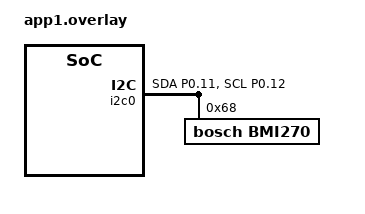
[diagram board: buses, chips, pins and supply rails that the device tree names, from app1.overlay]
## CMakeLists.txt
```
#
# Copyright (c) 2018 Nordic Semiconductor
#
# SPDX-License-Identifier: LicenseRef-Nordic-5-Clause
#
cmake_minimum_required(VERSION 3.20.0)

find_package(Zephyr REQUIRED HINTS $ENV{ZEPHYR_BASE})
project(NONE)

# NORDIC SDK APP START
target_sources(app PRIVATE
  src/main.c
  src/imu_service.c
  src/imu_driver.c
)

# NORDIC SDK APP END
zephyr_library_include_directories(.)
```

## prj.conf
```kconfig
#
# Copyright (c) 2018 Nordic Semiconductor
#
# SPDX-License-Identifier: LicenseRef-Nordic-5-Clause
#

# Logger module
CONFIG_LOG=y

# Button and LED library
CONFIG_DK_LIBRARY=y

# Bluetooth LE
CONFIG_BT=y
CONFIG_BT_PERIPHERAL=y
CONFIG_BT_DEVICE_NAME="IMU_wearable"

# Increase stack size for the main thread and System Workqueue
CONFIG_SYSTEM_WORKQUEUE_STACK_SIZE=1024
CONFIG_MAIN_STACK_SIZE=1024

CONFIG_STDOUT_CONSOLE=y
CONFIG_I2C=y
CONFIG_SENSOR=y

# increaes BLE packet size
# CONFIG_BT_BUF_ACL_RX_SIZE=251
# CONFIG_BT_BUF_ACL_TX_SIZE=251
# CONFIG_BT_L2CAP_TX_MTU=247
# CONFIG_BT_L2CAP_TX_BUF_COUNT=10
# CONFIG_BT_CTLR_DATA_LENGTH_MAX=251

CONFIG_BT_BUF_ACL_RX_SIZE=64
CONFIG_BT_BUF_ACL_TX_SIZE=64
CONFIG_BT_L2CAP_TX_MTU=60
CONFIG_BT_L2CAP_TX_BUF_COUNT=3
CONFIG_BT_CTLR_DATA_LENGTH_MAX=64

CONFIG_BT_GATT_CLIENT=y
```

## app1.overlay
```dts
&i2c0 {
  compatible = "nordic,nrf-twi";
  status = "okay";
  pinctrl-0 = <&i2c1_default_custom>;
  pinctrl-1 = <&i2c1_sleep_custom>;
  pinctrl-names = "default", "sleep";

  bmi270@68 {
    compatible = "bosch,bmi270";
    reg = <0x68>;
  };
};

&pinctrl {
  i2c1_default_custom: i2c1_default_custom {
    group1 {
      psels = <NRF_PSEL(TWIM_SDA, 0, 11)>,
        <NRF_PSEL(TWIM_SCL, 0, 12)>;
    };
  };
  i2c1_sleep_custom: i2c1_sleep_custom {
    group1 {
      psels = <NRF_PSEL(TWIM_SDA, 0, 11)>,
        <NRF_PSEL(TWIM_SCL, 0, 12)>;
      low-power-enable;
    };
  };
};
```

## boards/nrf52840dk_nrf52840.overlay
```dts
/*
 * Copyright (c) 2021 Bosch Sensortec GmbH
 *
 * SPDX-License-Identifier: Apache-2.0
 */

&arduino_i2c {
	status = "okay";

	bmi270@68 {
		compatible = "bosch,bmi270";
		reg = <0x68>;
	};
};
```

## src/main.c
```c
#include <zephyr/kernel.h>
#include <zephyr/logging/log.h>
#include <zephyr/bluetooth/bluetooth.h>
#include <zephyr/bluetooth/gap.h>
#include <zephyr/bluetooth/uuid.h>
#include <zephyr/bluetooth/conn.h>
// #include <dk_buttons_and_leds.h>

#include "main.h"
#include "imu_service.h"
#include "imu_driver.h"
LOG_MODULE_REGISTER(ble_imu_wearable, LOG_LEVEL_INF);

#define LED0_NODE DT_ALIAS(led0)

static uint32_t app_sensor_value = 100;

static bool app_button_state;

static struct sensor_value acc[3], gyr[3];

static void on_connected(struct bt_conn *conn, uint8_t err) {
	if (err) {
		printk("Connection failed (err %u)\n", err);
		return;
	}

  max_mtu_on_conn(conn);

	printk("Connected\n");

	// dk_set_led_on(CON_STATUS_LED);
}

static void on_disconnected(struct bt_conn *conn, uint8_t reason) {
	printk("Disconnected (reason %u)\n", reason);

	// dk_set_led_off(CON_STATUS_LED);
}

struct bt_conn_cb connection_callbacks = {
	.connected = on_connected,
	.disconnected = on_disconnected,
};

void send_data_thread(void)
{
	while (1) {
		/* Simulate data */
		/* Send notification, the function sends notifications only if a client is subscribed */
    app_sensor_value = acc[0].val1;
		if(imu_send_notify(acc, gyr)) {
      LOG_ERR("Failed to send data\n");
    }
    LOG_INF("sending data... %d \n", app_sensor_value);
    LOG_INF("AX: %d.%06d; AY: %d.%06d; AZ: %d.%06d; "
        "GX: %d.%06d; GY: %d.%06d; GZ: %d.%06d;\n",
        acc[0].val1, acc[0].val2,
        acc[1].val1, acc[1].val2,
        acc[2].val1, acc[2].val2,
        gyr[0].val1, gyr[0].val2,
        gyr[1].val1, gyr[1].val2,
        gyr[2].val1, gyr[2].val2);
		k_sleep(K_MSEC(50));
	}
}

void collect_imu_data_thread(void)
{
  while (1) {
    get_imu_data(acc, gyr);
    k_sleep(K_MSEC(100));
  }
}

static void app_led_cb(bool led_state)
{
	// dk_set_led(USER_LED, led_state);
}

static bool app_button_cb(void)
{
	return app_button_state;
}

static struct my_lbs_cb app_callbacks = {
	.led_cb = app_led_cb,
	.button_cb = app_button_cb,
};


int main(void)
{
  int blink_status = 0;
	int err;

	LOG_INF("Starting Lesson 4 - Exercise 2 \n");

	// err = dk_leds_init();
	// if (err) {
	// 	LOG_ERR("LEDs init failed (err %d)\n", err);
	// 	return -1;
	// }

  if (bmi_init()) {
    LOG_ERR("Failed to initialize IMU sensor\n");
  } else{
    LOG_INF("IMU sensor initialized\n");
  }

	err = bt_enable(NULL);
	if (err) {
		LOG_ERR("Bluetooth init failed (err %d)\n", err);
		return -1;
	}
	bt_conn_cb_register(&connection_callbacks);

  if (imu_service_init(&app_callbacks)) {
    LOG_ERR("Failed to initialize IMU service\n");
  }

  if (bt_le_adv_start(adv_param, ad, ARRAY_SIZE(ad), sd, ARRAY_SIZE(sd))) {
    LOG_ERR("Advertising failed to start\n");
  }

  for (;;) {
		// dk_set_led(RUN_STATUS_LED, (++blink_status) % 2);
		k_sleep(K_MSEC(RUN_LED_BLINK_INTERVAL));
	}

}
//define a thread
K_THREAD_DEFINE(send_data_thread_id, STACKSIZE, send_data_thread, NULL, NULL, NULL, PRIORITY, 0, 0);

K_THREAD_DEFINE(collect_imu_data_thread_id, STACKSIZE, collect_imu_data_thread, NULL, NULL, NULL, PRIORITY, 0, 0);
```

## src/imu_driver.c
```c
/*
 * Copyright (c) 2021 Bosch Sensortec GmbH
 *
 * SPDX-License-Identifier: Apache-2.0
 */

 #include <zephyr/kernel.h>
 #include <zephyr/device.h>
 #include <zephyr/logging/log.h>
 #include <zephyr/drivers/sensor.h>
 #include <stdio.h>
 LOG_MODULE_DECLARE(ble_imu_wearable);
 static const struct device *const dev = DEVICE_DT_GET_ONE(bosch_bmi270);


int get_imu_data(struct sensor_value *acc, struct sensor_value *gyr) {
    /* 10ms period, 100Hz Sampling frequency */
    // k_sleep(K_MSEC(10));

    if(sensor_sample_fetch(dev)) {
        LOG_ERR("Failed to fetch sample\n");
    } else {
        LOG_INF("Sample fetched\n");
    }

    if(sensor_channel_get(dev, SENSOR_CHAN_ACCEL_XYZ, acc)) {
        LOG_ERR("Failed to fetch accel data\n");
    }
    
    sensor_channel_get(dev, SENSOR_CHAN_GYRO_XYZ, gyr);

    LOG_INF("AX: %d.%06d; AY: %d.%06d; AZ: %d.%06d; "
           "GX: %d.%06d; GY: %d.%06d; GZ: %d.%06d;\n",
           acc[0].val1, acc[0].val2,
           acc[1].val1, acc[1].val2,
           acc[2].val1, acc[2].val2,
           gyr[0].val1, gyr[0].val2,
           gyr[1].val1, gyr[1].val2,
           gyr[2].val1, gyr[2].val2);
    return 0;
}

 int bmi_init(void)
 {

   struct sensor_value acc[3], gyr[3];
   struct sensor_value full_scale, sampling_freq, oversampling;
 
   if (!device_is_ready(dev)) {
     LOG_INF("Device %s is not ready\n", dev->name);
     return 0;
   }
 
   printf("Device %p name is %s\n", dev, dev->name);
 
   /* Setting scale in G, due to loss of precision if the SI unit m/s^2
    * is used
    */
   full_scale.val1 = 2;            /* G */
   full_scale.val2 = 0;
   sampling_freq.val1 = 100;       /* Hz. Performance mode */
   sampling_freq.val2 = 0;
   oversampling.val1 = 1;          /* Normal mode */
   oversampling.val2 = 0;
 
   sensor_attr_set(dev, SENSOR_CHAN_ACCEL_XYZ, SENSOR_ATTR_FULL_SCALE,
       &full_scale);
   sensor_attr_set(dev, SENSOR_CHAN_ACCEL_XYZ, SENSOR_ATTR_OVERSAMPLING,
       &oversampling);
   /* Set sampling frequency last as this also sets the appropriate
    * power mode. If already sampling, change to 0.0Hz before changing
    * other attributes
    */
   sensor_attr_set(dev, SENSOR_CHAN_ACCEL_XYZ,
       SENSOR_ATTR_SAMPLING_FREQUENCY,
       &sampling_freq);
 
 
   /* Setting scale in degrees/s to match the sensor scale */
   full_scale.val1 = 500;          /* dps */
   full_scale.val2 = 0;
   sampling_freq.val1 = 100;       /* Hz. Performance mode */
   sampling_freq.val2 = 0;
   oversampling.val1 = 1;          /* Normal mode */
   oversampling.val2 = 0;
 
   sensor_attr_set(dev, SENSOR_CHAN_GYRO_XYZ, SENSOR_ATTR_FULL_SCALE,
       &full_scale);
   sensor_attr_set(dev, SENSOR_CHAN_GYRO_XYZ, SENSOR_ATTR_OVERSAMPLING,
       &oversampling);
   /* Set sampling frequency last as this also sets the appropriate
    * power mode. If already sampling, change sampling frequency to
    * 0.0Hz before changing other attributes
    */
   sensor_attr_set(dev, SENSOR_CHAN_GYRO_XYZ,
       SENSOR_ATTR_SAMPLING_FREQUENCY,
       &sampling_freq);

   return 0;
 }
```

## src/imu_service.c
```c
#include <zephyr/types.h>
#include <stddef.h>
#include <string.h>
#include <errno.h>
#include <zephyr/sys/printk.h>
#include <zephyr/sys/byteorder.h>
#include <zephyr/kernel.h>
#include <zephyr/logging/log.h>
#include <zephyr/bluetooth/bluetooth.h>
#include <zephyr/bluetooth/hci.h>
#include <zephyr/bluetooth/conn.h>
#include <zephyr/bluetooth/uuid.h>
#include <zephyr/bluetooth/gatt.h>

#include "imu_service.h"

LOG_MODULE_DECLARE(ble_imu_wearable);

static struct bt_gatt_indicate_params ind_params;

static bool notify_mysensor_enabled;
static bool indicate_enabled;
static bool button_state;
static struct my_lbs_cb lbs_cb;

static void exchange_func(struct bt_conn *conn, uint8_t err,
  struct bt_gatt_exchange_params *params)
{
  if (!err) {
      /* According to 3.4.7.1 Handle Value Notification off the ATT protocol.
       * Maximum supported notification is ATT_MTU - 3 */
      uint32_t bt_max_send_len = bt_gatt_get_mtu(conn) - 3;
      LOG_INF("max send len is %d", bt_max_send_len);
  }
}

// static struct bt_gatt_exchange_params {
//   struct bt_att_req *req;
//   void (*func)(struct bt_conn *conn, uint8_t err, struct bt_gatt_exchange_params *params);
// };

static struct bt_gatt_exchange_params exchange_params = {
  .func = exchange_func,
};
static int rc = 0;

void max_mtu_on_conn(struct bt_conn *current_conn) {
  /* maximize ATT MTU at peer side (CONFIG_BT_L2CAP_TX_MTU)*/
  exchange_params.func = exchange_func;
  LOG_INF("sending ATT MTU to peer..");
  rc = bt_gatt_exchange_mtu(current_conn, &exchange_params);
  if (rc) {
      LOG_ERR("failed to negotiate maximum mtu with peer [%d]", rc);
  }
}

static void mylbsbc_ccc_cfg_changed(const struct bt_gatt_attr *attr, uint16_t value)
{
	indicate_enabled = (value == BT_GATT_CCC_INDICATE);
}

/* STEP 13 - Define the configuration change callback function for the MYSENSOR characteristic */
static void mylbsbc_ccc_mysensor_cfg_changed(const struct bt_gatt_attr *attr, uint16_t value)
{
	notify_mysensor_enabled = (value == BT_GATT_CCC_NOTIFY);
}

static ssize_t write_led(struct bt_conn *conn, const struct bt_gatt_attr *attr, const void *buf,
  uint16_t len, uint16_t offset, uint8_t flags)
{
LOG_DBG("Attribute write, handle: %u, conn: %p", attr->handle, (void *)conn);

if (len != 1U) {
LOG_DBG("Write led: Incorrect data length");
return BT_GATT_ERR(BT_ATT_ERR_INVALID_ATTRIBUTE_LEN);
}

if (offset != 0) {
LOG_DBG("Write led: Incorrect data offset");
return BT_GATT_ERR(BT_ATT_ERR_INVALID_OFFSET);
}

if (lbs_cb.led_cb) {
// Read the received value
uint8_t val = *((uint8_t *)buf);

if (val == 0x00 || val == 0x01) {
 // Call the application callback function to update the LED state
 lbs_cb.led_cb(val ? true : false);
} else {
 LOG_DBG("Write led: Incorrect value");
 return BT_GATT_ERR(BT_ATT_ERR_VALUE_NOT_ALLOWED);
}
}

return len;
}

static ssize_t read_button(struct bt_conn *conn, const struct bt_gatt_attr *attr, void *buf,
    uint16_t len, uint16_t offset)
{
// get a pointer to button_state which is passed in the BT_GATT_CHARACTERISTIC() and stored in attr->user_data
const char *value = attr->user_data;

LOG_DBG("Attribute read, handle: %u, conn: %p", attr->handle, (void *)conn);

if (lbs_cb.button_cb) {
// Call the application callback function to update the get the current value of the button
button_state = lbs_cb.button_cb();
return bt_gatt_attr_read(conn, attr, buf, len, offset, value, sizeof(*value));
}

return 0;
}

BT_GATT_SERVICE_DEFINE(
	imu_svc, BT_GATT_PRIMARY_SERVICE(BT_UUID_IMU_SERVICE),

  //old code
  BT_GATT_CHARACTERISTIC(BT_UUID_LBS_BUTTON, BT_GATT_CHRC_READ | BT_GATT_CHRC_INDICATE,
    BT_GATT_PERM_READ, read_button, NULL, &button_state),
/* STEP 2 - Create and add the Client Characteristic Configuration Descriptor */
BT_GATT_CCC(mylbsbc_ccc_cfg_changed, BT_GATT_PERM_READ | BT_GATT_PERM_WRITE),

BT_GATT_CHARACTERISTIC(BT_UUID_LBS_LED, BT_GATT_CHRC_WRITE, BT_GATT_PERM_WRITE, NULL,
    write_led, NULL),


	/* STEP 12 - Create and add the MYSENSOR characteristic and its CCCD  */
	BT_GATT_CHARACTERISTIC(BT_UUID_IMU, BT_GATT_CHRC_NOTIFY, BT_GATT_PERM_NONE, NULL,
			       NULL, NULL),
	BT_GATT_CCC(mylbsbc_ccc_mysensor_cfg_changed, BT_GATT_PERM_READ | BT_GATT_PERM_WRITE),

);


int imu_service_init(struct my_lbs_cb *callbacks) {
  if (callbacks) {
		lbs_cb.led_cb = callbacks->led_cb;
		lbs_cb.button_cb = callbacks->button_cb;
	}
  return 0;

}

static uint32_t ascii_sensor_value = 0;
static char hello_world[] = "Hello, World!";

static struct wearable_packet packet;

//send imu data to the client
int imu_send_notify(struct sensor_value *acc, struct sensor_value *gyr) 
{
	if (!notify_mysensor_enabled) {
    LOG_INF("notify boolean is false...  \n");
		return -EACCES;
	}

  packet.data.acc[0].integer = acc[0].val1;
  packet.data.acc[0].fraction = acc[0].val2;
  packet.data.acc[1].integer = acc[1].val1;
  packet.data.acc[1].fraction = acc[1].val2;
  packet.data.acc[2].integer = acc[2].val1;
  packet.data.acc[2].fraction = acc[2].val2;
  packet.data.gyr[0].integer = gyr[0].val1;
  packet.data.gyr[0].fraction = gyr[0].val2;
  packet.data.gyr[1].integer = gyr[1].val1;
  packet.data.gyr[1].fraction = gyr[1].val2;
  packet.data.gyr[2].integer = gyr[2].val1;
  packet.data.gyr[2].fraction = gyr[2].val2;

  packet.foot_voltage = 123;
  packet.pos = 3;
  LOG_INF("sent ble packet  \n");

  return bt_gatt_notify(NULL, &imu_svc.attrs[7], &packet, sizeof(packet));

  //x61 to x7a
  //loop sensor value from x61 to x7a
  
  // ascii_sensor_value = (ascii_sensor_value + 1) % 26;

	// return bt_gatt_notify(NULL, &imu_svc.attrs[7], &hello_world, sizeof(hello_world));
}
```

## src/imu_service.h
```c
#ifndef BT_IMU_H_
#define BT_IMU_H_

#include <zephyr/drivers/sensor.h>

#define BT_UUID_IMU_SERVICE_VAL BT_UUID_128_ENCODE(0x00001523, 0x1212, 0xefde, 0x1523, 0x785feabcd123)

#define BT_UUID_IMU_SERVICE BT_UUID_DECLARE_128(BT_UUID_IMU_SERVICE_VAL)

// IMU charactersitic UUID
#define BT_UUID_IMU_VAL                                                                   \
	BT_UUID_128_ENCODE(0x00001526, 0x1212, 0xefde, 0x1523, 0x785feabcd123)

#define BT_UUID_IMU BT_UUID_DECLARE_128(BT_UUID_IMU_VAL)

/*old code*/
#define BT_UUID_LBS_BUTTON_VAL                                                                     \
	BT_UUID_128_ENCODE(0x00001524, 0x1212, 0xefde, 0x1523, 0x785feabcd123)

/** @brief LED Characteristic UUID. */
#define BT_UUID_LBS_LED_VAL BT_UUID_128_ENCODE(0x00001525, 0x1212, 0xefde, 0x1523, 0x785feabcd123)
#define BT_UUID_LBS_BUTTON BT_UUID_DECLARE_128(BT_UUID_LBS_BUTTON_VAL)
#define BT_UUID_LBS_LED BT_UUID_DECLARE_128(BT_UUID_LBS_LED_VAL)


/** @brief Callback type for when an LED state change is received. */
typedef void (*led_cb_t)(const bool led_state);

/** @brief Callback type for when the button state is pulled. */
typedef bool (*button_cb_t)(void);

struct my_lbs_cb {
	/** LED state change callback. */
	led_cb_t led_cb;
	/** Button read callback. */
	button_cb_t button_cb;
};
/*end*/

// struct for per device data
struct imu_sensor_value {
  int32_t integer;
  int32_t fraction;
};

struct imu_data {
  struct imu_sensor_value acc[3];
  struct imu_sensor_value gyr[3];
};
struct wearable_packet {
  struct imu_data data;
  uint16_t foot_voltage;
  uint8_t pos;
};

int imu_send_notify(struct sensor_value *acc, struct sensor_value *gyr);
int imu_service_init(struct my_lbs_cb *callbacks);
void max_mtu_on_conn(struct bt_conn *current_conn);
#endif
```

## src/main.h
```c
#include "imu_service.h"


#define DEVICE_NAME CONFIG_BT_DEVICE_NAME
#define DEVICE_NAME_LEN (sizeof(DEVICE_NAME) - 1)

#define RUN_STATUS_LED DK_LED1
#define CON_STATUS_LED DK_LED2
#define USER_LED DK_LED3
#define USER_BUTTON DK_BTN1_MSK

#define STACKSIZE 512
#define PRIORITY 7

#define RUN_LED_BLINK_INTERVAL 1000
/* STEP 17 - Define the interval at which you want to send data at */
#define NOTIFY_INTERVAL 500

static const struct bt_le_adv_param *adv_param = BT_LE_ADV_PARAM(
	(BT_LE_ADV_OPT_CONNECTABLE |
	 BT_LE_ADV_OPT_USE_IDENTITY), /* Connectable advertising and use identity address */
	800, /* Min Advertising Interval 500ms (800*0.625ms) */
	801, /* Max Advertising Interval 500.625ms (801*0.625ms) */
	NULL); /* Set to NULL for undirected advertising */

static const struct bt_data ad[] = {
  BT_DATA_BYTES(BT_DATA_FLAGS, (BT_LE_AD_GENERAL | BT_LE_AD_NO_BREDR)),
  BT_DATA(BT_DATA_NAME_COMPLETE, DEVICE_NAME, DEVICE_NAME_LEN),

};

static const struct bt_data sd[] = {
	BT_DATA_BYTES(BT_DATA_UUID128_ALL, BT_UUID_IMU_SERVICE_VAL),
};
```
